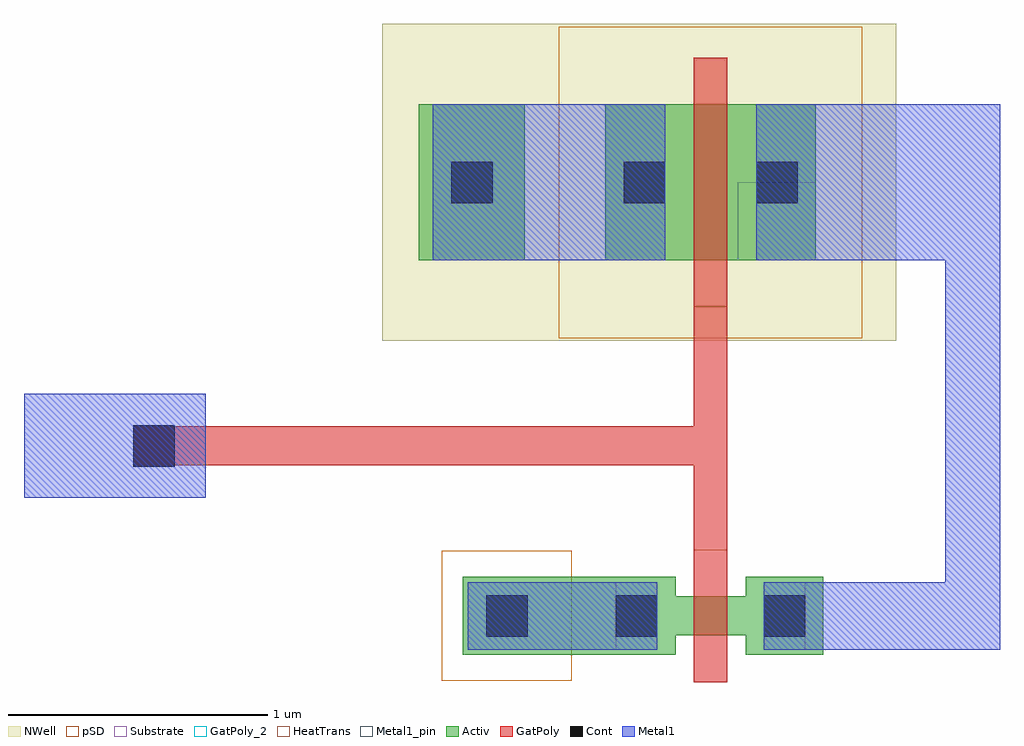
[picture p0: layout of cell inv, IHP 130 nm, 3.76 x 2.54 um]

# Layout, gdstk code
import gdstk
lib = gdstk.Library(unit=1e-6, precision=1e-09)
def R(c, l, rs):  # rectangles x0, y0, x1, y1
    for r in rs: c.add(gdstk.rectangle(r[:2], r[2:], *l))
def P(c, l, *ps):  # polygons
    for p in ps: c.add(gdstk.Polygon(p, *l))
Activ = (1, 0)
GatPoly = (5, 0)
GatPoly_2 = (5, 2)
Cont = (6, 0)
Metal1 = (8, 0)
Metal1_pin = (8, 2)
pSD = (14, 0)
NWell = (31, 0)
Substrate = (40, 0)
HeatTrans = (51, 0)

nmos_5 = lib.new_cell('nmos$5')
R(nmos_5, Activ, [(0,0,0.3,0.3), (0.57,0,0.87,0.3), (0,0.075,0.87,0.225)])
R(nmos_5, GatPoly, [(0.37,-0.105,0.5,0.405)])
R(nmos_5, GatPoly_2, [(0.37,-0.105,0.5,0.405)])
R(nmos_5, Cont, [(0.07,0.07,0.23,0.23), (0.64,0.07,0.8,0.23)])
R(nmos_5, Metal1, [(0.07,0.02,0.23,0.28), (0.64,0.02,0.8,0.28)])
R(nmos_5, Metal1_pin, [(0.07,0.02,0.23,0.28), (0.64,0.02,0.8,0.28)])
R(nmos_5, HeatTrans, [(0.37,-0.105,0.5,0.405)])
nmos_5.add(gdstk.Label('nmos', (0.435,0.15), layer=63, texttype=0))
nmos_5.add(gdstk.Label('nmos', (0.435,0.15), layer=51, texttype=0))

pmos_9 = lib.new_cell('pmos$9')
R(pmos_9, Activ, [(0,0,0.3,0.3), (0,0,0.81,0.6), (0.51,0,0.81,0.3)])
R(pmos_9, GatPoly, [(0.34,-0.18,0.47,0.78), (0.34,-0.18,0.47,0.78)])
R(pmos_9, Cont, [(0.07,0.22,0.23,0.38), (0.58,0.22,0.74,0.38)])
R(pmos_9, Metal1, [(0.07,0,0.23,0.6), (0.07,0,0.23,0.6), (0.58,0,0.74,0.6), (0.58,0,0.74,0.6)])
R(pmos_9, pSD, [(-0.18,-0.3,0.99,0.9)])
R(pmos_9, NWell, [(-0.31,-0.31,1.12,0.91)])
R(pmos_9, Substrate, [(0.51,0,0.81,0.3)])
R(pmos_9, HeatTrans, [(0.34,-0.18,0.47,0.78)])
pmos_9.add(gdstk.Label('pmos', (0.405,0.3), layer=63, texttype=0))
pmos_9.add(gdstk.Label('pmos', (0.405,0.3), layer=51, texttype=0))

inv = lib.new_cell('inv')
R(inv, Activ, [(637.03,1575.145,637.565,1575.445), (636.86,1576.665,637.27,1577.265)])
R(inv, GatPoly, [(635.76,1575.87,635.92,1576.03)])
P(inv, GatPoly, [(637.92,1575.535),(637.92,1575.875),(635.76,1575.875),(635.76,1576.025),(637.92,1576.025),(637.92,1576.5),(638.05,1576.5),(638.05,1575.535)])
R(inv, Cont, [(637.12,1575.215,637.28,1575.375), (635.76,1575.87,635.92,1576.03), (636.985,1576.885,637.145,1577.045)])
R(inv, Metal1, [(637.05,1575.165,637.635,1575.425), (635.34,1575.75,636.04,1576.15), (636.915,1576.665,637.665,1577.265)])
P(inv, Metal1, [(638.335,1575.165),(638.335,1575.425),(638.89,1575.425),(638.89,1576.665),(638.305,1576.665),(638.305,1577.265),(639.1,1577.265),(639.1,1575.165)])
R(inv, pSD, [(636.95,1575.045,637.45,1575.545)])
R(inv, NWell, [(636.72,1576.355,637.285,1577.575)])
inv.add(gdstk.Reference(nmos_5, (637.55,1575.145)))
inv.add(gdstk.Reference(pmos_9, (637.58,1576.665)))

lib.write_gds('inv.gds')
